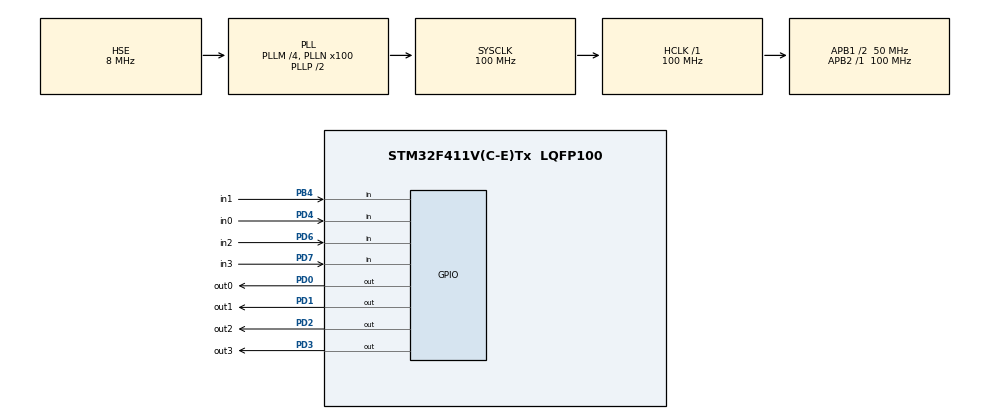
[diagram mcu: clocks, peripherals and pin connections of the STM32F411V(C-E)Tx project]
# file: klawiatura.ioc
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Mcu.Family=STM32F4
Mcu.Name=STM32F411V(C-E)Tx
Mcu.Package=LQFP100
NVIC.PriorityGroup=NVIC_PRIORITYGROUP_4
PB4.GPIO_Label=in1
PB4.GPIO_PuPd=GPIO_PULLDOWN
PB4.Signal=GPIO_Input
PD0.GPIO_Label=out0
PD0.GPIO_Speed=GPIO_SPEED_FREQ_VERY_HIGH
PD0.Signal=GPIO_Output
PD1.GPIO_Label=out1
PD1.GPIO_Speed=GPIO_SPEED_FREQ_VERY_HIGH
PD1.Signal=GPIO_Output
PD2.GPIO_Label=out2
PD2.GPIO_Speed=GPIO_SPEED_FREQ_VERY_HIGH
PD2.Signal=GPIO_Output
PD3.GPIO_Label=out3
PD3.GPIO_Speed=GPIO_SPEED_FREQ_VERY_HIGH
PD3.Signal=GPIO_Output
PD4.GPIO_Label=in0
PD4.GPIO_PuPd=GPIO_PULLDOWN
PD4.Signal=GPIO_Input
PD6.GPIO_Label=in2
PD6.GPIO_PuPd=GPIO_PULLDOWN
PD6.Signal=GPIO_Input
PD7.GPIO_Label=in3
PD7.GPIO_PuPd=GPIO_PULLDOWN
PD7.Signal=GPIO_Input
PH0\ -\ OSC_IN.Mode=HSE-External-Oscillator
PH0\ -\ OSC_IN.Signal=RCC_OSC_IN
PH1\ -\ OSC_OUT.Mode=HSE-External-Oscillator
PH1\ -\ OSC_OUT.Signal=RCC_OSC_OUT
ProjectManager.HeapSize=0x200
ProjectManager.StackSize=0x400
ProjectManager.TargetToolchain=STM32CubeIDE
RCC.48MHZClocksFreq_Value=50000000
RCC.AHBFreq_Value=100000000
RCC.APB1CLKDivider=RCC_HCLK_DIV2
RCC.APB1Freq_Value=50000000
RCC.APB1TimFreq_Value=100000000
RCC.APB2Freq_Value=100000000
RCC.APB2TimFreq_Value=100000000
RCC.CortexFreq_Value=100000000
RCC.HCLKFreq_Value=100000000
RCC.HSE_VALUE=8000000
RCC.HSI_VALUE=16000000
RCC.LSE_VALUE=32768
RCC.PLLM=4
RCC.PLLN=100
RCC.PLLSourceVirtual=RCC_PLLSOURCE_HSE
RCC.SYSCLKFreq_VALUE=100000000
RCC.SYSCLKSource=RCC_SYSCLKSOURCE_PLLCLK
RCC.VCOOutputFreq_Value=200000000
board=custom

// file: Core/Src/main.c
/* USER CODE BEGIN Header */
/**
  ******************************************************************************
  * @file           : main.c
  * @brief          : Main program body
  ******************************************************************************
  * @attention
  *
  * <h2><center>&copy; Copyright (c) 2021 STMicroelectronics.
  * All rights reserved.</center></h2>
  *
  * This software component is licensed by ST under BSD 3-Clause license,
  * the "License"; You may not use this file except in compliance with the
  * License. You may obtain a copy of the License at:
  *                        opensource.org/licenses/BSD-3-Clause
  *
  ******************************************************************************
  */
/* USER CODE END Header */
#include "main.h"
#include "gpio.h"

/* USER CODE BEGIN Includes */
#include"keypad.h"
//#include "string.h"
/* USER CODE END Includes */

/* USER CODE BEGIN PV */
char keypad[4][4]={
		{'1','2','3','A'},
		{'4','5','6','B'},
		{'7','8','9','C'},
		{'*','0','#','D'}
};
keypad_t key;
char a;
volatile int b=0;
/* USER CODE END PV */

void SystemClock_Config(void);

int main(void)
{

  /* MCU Configuration--------------------------------------------------------*/

  /* Reset of all peripherals, Initializes the Flash interface and the Systick. */
  HAL_Init();

  /* Configure the system clock */
  SystemClock_Config();

  /* Initialize all configured peripherals */
  MX_GPIO_Init();
  /* USER CODE BEGIN 2 */

  keypad_init(&key, (char*)keypad);

//  HAL_UART_Transmit(&huart2, (uint8_t*)key.keypad, 16, 1000);
  /* USER CODE END 2 */

  /* Infinite loop */
  /* USER CODE BEGIN WHILE */

  while (1)
  {

	  keypad_task(&key);
	  HAL_Delay(10);
	  if(key.flag==1)
	  {
		  a=keypad_getKey(&key);
	  }
    /* USER CODE END WHILE */

  }
}

void SystemClock_Config(void)
{
  RCC_OscInitTypeDef RCC_OscInitStruct = {0};
  RCC_ClkInitTypeDef RCC_ClkInitStruct = {0};

  /** Configure the main internal regulator output voltage
  */
  __HAL_RCC_PWR_CLK_ENABLE();
  __HAL_PWR_VOLTAGESCALING_CONFIG(PWR_REGULATOR_VOLTAGE_SCALE1);
  /** Initializes the RCC Oscillators according to the specified parameters
  * in the RCC_OscInitTypeDef structure.
  */
  RCC_OscInitStruct.OscillatorType = RCC_OSCILLATORTYPE_HSE;
  RCC_OscInitStruct.HSEState = RCC_HSE_ON;
  RCC_OscInitStruct.PLL.PLLState = RCC_PLL_ON;
  RCC_OscInitStruct.PLL.PLLSource = RCC_PLLSOURCE_HSE;
  RCC_OscInitStruct.PLL.PLLM = 4;
  RCC_OscInitStruct.PLL.PLLN = 100;
  RCC_OscInitStruct.PLL.PLLP = RCC_PLLP_DIV2;
  RCC_OscInitStruct.PLL.PLLQ = 4;
  if (HAL_RCC_OscConfig(&RCC_OscInitStruct) != HAL_OK)
  {
    Error_Handler();
  }
  /** Initializes the CPU, AHB and APB buses clocks
  */
  RCC_ClkInitStruct.ClockType = RCC_CLOCKTYPE_HCLK|RCC_CLOCKTYPE_SYSCLK
                              |RCC_CLOCKTYPE_PCLK1|RCC_CLOCKTYPE_PCLK2;
  RCC_ClkInitStruct.SYSCLKSource = RCC_SYSCLKSOURCE_PLLCLK;
  RCC_ClkInitStruct.AHBCLKDivider = RCC_SYSCLK_DIV1;
  RCC_ClkInitStruct.APB1CLKDivider = RCC_HCLK_DIV2;
  RCC_ClkInitStruct.APB2CLKDivider = RCC_HCLK_DIV1;

  if (HAL_RCC_ClockConfig(&RCC_ClkInitStruct, FLASH_LATENCY_3) != HAL_OK)
  {
    Error_Handler();
  }
}

void Error_Handler(void)
{
  __disable_irq();
  while (1)
  {
  }
}

/************************ (C) COPYRIGHT STMicroelectronics *****END OF FILE****/
